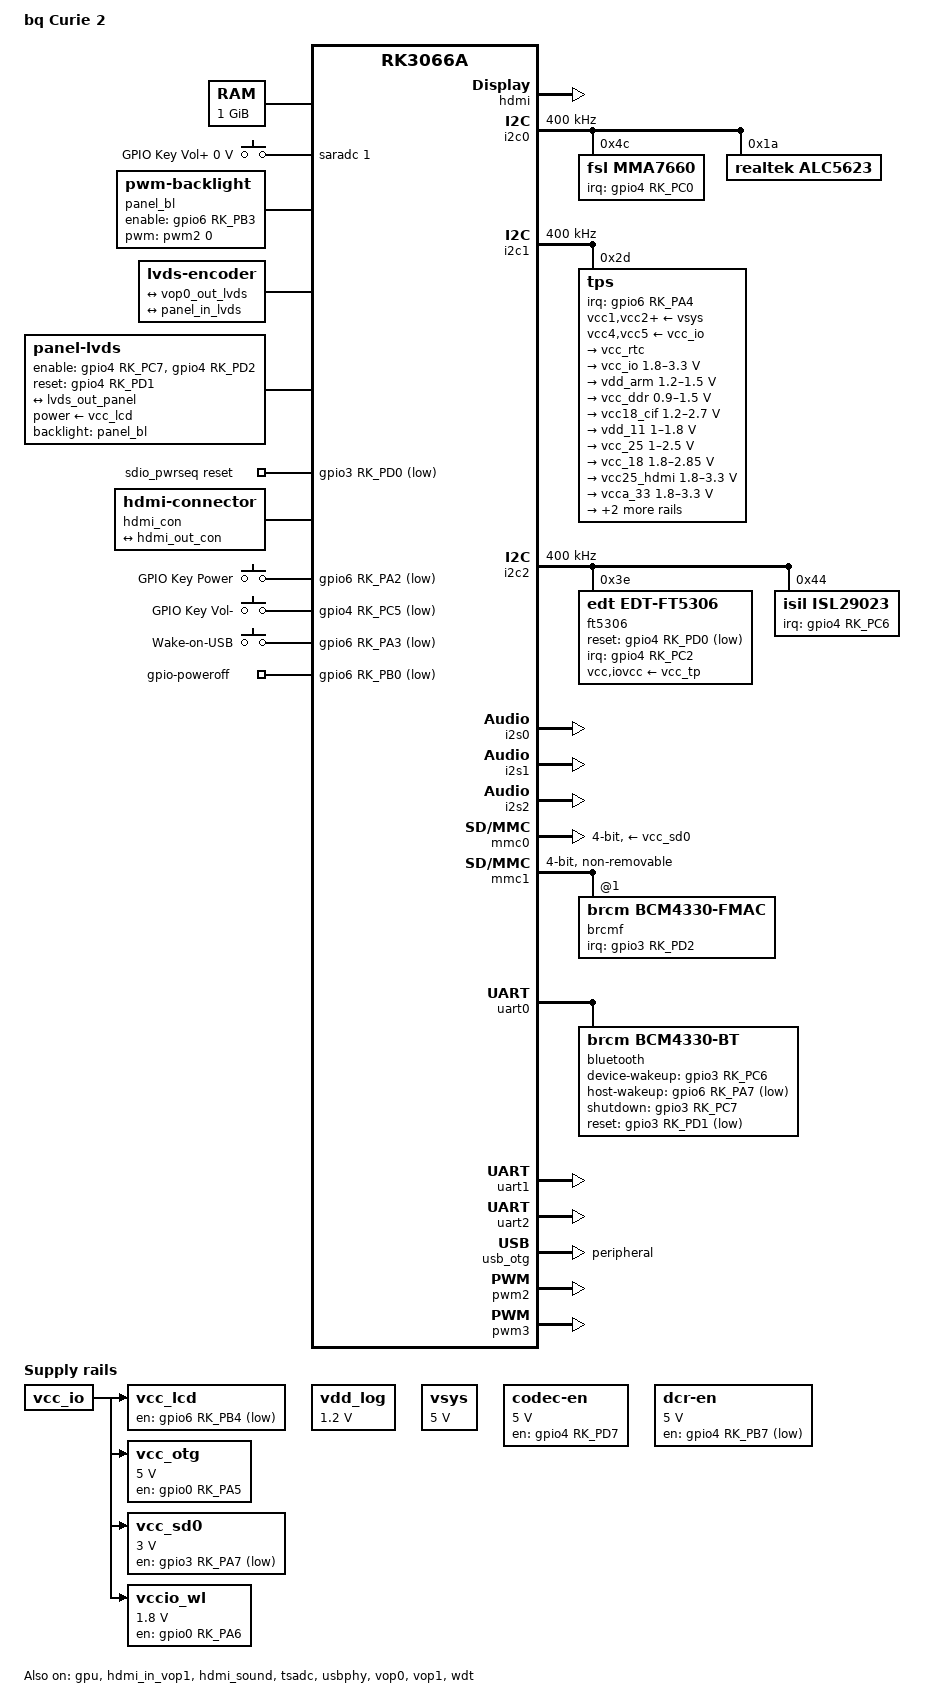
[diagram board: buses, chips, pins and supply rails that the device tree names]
// SPDX-License-Identifier: (GPL-2.0+ OR MIT)
/*
 * Copyright (c) 2013 MundoReader S.L.
 * Author: Heiko Stuebner <heiko@sntech.de>
 */

/dts-v1/;
#include <dt-bindings/input/input.h>
#include "rk3066a.dtsi"

/ {
	model = "bq Curie 2";
	compatible = "mundoreader,bq-curie2", "rockchip,rk3066a";

	aliases {
		mmc0 = &mmc0;
		mmc1 = &mmc1;
	};

	chosen {
		/*bootargs = "clk_ignore_unused pd_ignore_unused";*/
		stdout-path = &uart2;
	};

	memory@60000000 {
		device_type = "memory";
		reg = <0x60000000 0x40000000>;
	};

	adc-keys {
		compatible = "adc-keys";
		io-channels = <&saradc 1>;
		io-channel-names = "buttons";
		keyup-threshold-microvolt = <2500000>;
		poll-interval = <100>;

		key-volume-up {
			label = "GPIO Key Vol+";
			linux,code = <KEY_VOLUMEUP>;
			press-threshold-microvolt = <0>;
		};
	};

	panel_bl: backlight {
		compatible = "pwm-backlight";
		pwms = <&pwm2 0 26860>;

		/*brightness-levels = <255 128 64 32 16 8 4 0>;*/
		brightness-levels = <100 75 50 25 12 6 3 0>;
		default-brightness-level = <6>;

		enable-gpios = <&gpio6 RK_PB3 GPIO_ACTIVE_HIGH>;
		post-pwm-on-delay-ms = <100>;
		pwm-off-delay-ms = <100>;
	};

	lvds-encoder {
		compatible = "lvds-encoder";
		ports {
			#address-cells = <1>;
			#size-cells = <0>;

			port@0 {
				reg = <0>;

				lvds_in_vop0: endpoint {
					remote-endpoint = <&vop0_out_lvds>;
				};
			};

			port@1 {
				reg = <1>;

				lvds_out_panel: endpoint {
					remote-endpoint = <&panel_in_lvds>;
				};
			};
		};
	};

	panel {
		/* Panel for C8003 device */
		compatible = "panel-lvds";
		backlight = <&panel_bl>;
		/* Chip select and standby pins */
		enable-gpios = <&gpio4 RK_PC7 GPIO_ACTIVE_HIGH
				&gpio4 RK_PD2 GPIO_ACTIVE_HIGH>;
		reset-gpios = <&gpio4 RK_PD1 GPIO_ACTIVE_HIGH>;
		pinctrl-names = "default";
		pinctrl-0 = <&lcd_cs &lcd_rst &lcd_standby>;
		power-supply = <&vcc_lcd>;

		data-mapping = "jeida-24";
		height-mm = <162>;
		width-mm = <216>;

		panel-timing {
			clock-frequency = <65000000>;
			hactive = <1024>;
			vactive = <768>;
			hback-porch = <100>;
			hfront-porch = <120>;
			hsync-len = <100>;
			vback-porch = <10>;
			vfront-porch = <15>;
			vsync-len = <10>;
		};

		port {
			panel_in_lvds: endpoint {
				remote-endpoint = <&lvds_out_panel>;
			};
		};
	};

	vcc_lcd: regulator-lcd {
		compatible = "regulator-fixed";
		enable-active-low;
		regulator-name = "vcc-lcd";
		gpio = <&gpio6 RK_PB4 GPIO_ACTIVE_LOW>;
		pinctrl-names = "default";
		pinctrl-0 = <&lcd_en>;
		vin-supply = <&vcc_io>;
	};

	vdd_log: regulator-vdd-log {
		compatible = "pwm-regulator";
		pwms = <&pwm3 0 1000>;
		regulator-name = "vdd_log";
		regulator-min-microvolt = <1200000>;
		regulator-max-microvolt = <1200000>;
		regulator-always-on;
		voltage-table = <1000000 100>,
				<1200000 42>;
		status = "okay";

	};

	vcc_otg: regulator-usb-otg {
		compatible = "regulator-fixed";
		enable-active-high;
		gpio = <&gpio0 RK_PA5 GPIO_ACTIVE_HIGH>;
		pinctrl-0 = <&otg_drv>;
		pinctrl-names = "default";
		regulator-always-on;
		regulator-name = "vcc_otg";
		regulator-min-microvolt = <5000000>;
		regulator-max-microvolt = <5000000>;
		vin-supply = <&vcc_io>;
	};

	vcc_sd0: regulator-fixed {
		compatible = "regulator-fixed";
		regulator-name = "sdmmc-supply";
		regulator-min-microvolt = <3000000>;
		regulator-max-microvolt = <3000000>;
		pinctrl-names = "default";
		pinctrl-0 = <&sdmmc_pwr>;
		gpio = <&gpio3 RK_PA7 GPIO_ACTIVE_LOW>;
		vin-supply = <&vcc_io>;
	};

	vccio_wl: vccio-wl {
		compatible = "regulator-fixed";
		enable-active-high;
		gpio = <&gpio0 RK_PA6 GPIO_ACTIVE_HIGH>;
		pinctrl-0 = <&vccio_wl_on>;
		pinctrl-names = "default";
		regulator-name = "vccio_wl";
		regulator-min-microvolt = <1800000>;
		regulator-max-microvolt = <1800000>;
		vin-supply = <&vcc_io>;
	};

	sdio_pwrseq: sdio-pwrseq {
		compatible = "mmc-pwrseq-simple";
		pinctrl-names = "default";
		pinctrl-0 = <&wifi_reg_on>;
		reset-gpios = <&gpio3 RK_PD0 GPIO_ACTIVE_LOW>;
	};

	vsys: regulator-vsys {
		compatible = "regulator-fixed";
		regulator-name = "vsys";
		regulator-min-microvolt = <5000000>;
		regulator-max-microvolt = <5000000>;
		regulator-boot-on;
	};

	hdmi_con {
		compatible = "hdmi-connector";
		type = "c";

		port {
			hdmi_con_in: endpoint {
				remote-endpoint = <&hdmi_out_con>;
			};
		};
	};

	codec-en {
		compatible = "regulator-fixed";
		regulator-name = "codec-en";
		regulator-min-microvolt = <5000000>;
		regulator-max-microvolt = <5000000>;
		enable-active-high;
		gpio = <&gpio4 RK_PD7 GPIO_ACTIVE_HIGH>;
		pinctrl-names = "default";
		pinctrl-0 = <&codec_en_pin>;
	};

	dcr-en {
		compatible = "regulator-fixed";
		regulator-name = "dcr-en";
		regulator-min-microvolt = <5000000>;
		regulator-max-microvolt = <5000000>;
		enable-active-low;
		gpio = <&gpio4 RK_PB7 GPIO_ACTIVE_LOW>;
		pinctrl-names = "default";
		pinctrl-0 = <&dcr_en_pin>;
	};

	gpio-keys {
		compatible = "gpio-keys";
		autorepeat;
		pinctrl-names = "default";
		pinctrl-0 = <&pwr_key &vol_key &usb_int>;

		key-power {
			gpios = <&gpio6 RK_PA2 GPIO_ACTIVE_LOW>;
			linux,code = <KEY_POWER>;
			label = "GPIO Key Power";
			linux,input-type = <1>;
			debounce-interval = <100>;
			wakeup-source;
		};

		key-volume-down {
			gpios = <&gpio4 RK_PC5 GPIO_ACTIVE_LOW>; /* GPIO4_C5 */
			linux,code = <KEY_VOLUMEDOWN>;
			label = "GPIO Key Vol-";
			linux,input-type = <1>;
			debounce-interval = <100>;
		};
		/* VOL+ comes somehow thru the ADC */

		key-wake-on-usb {
			label = "Wake-on-USB";
			gpios = <&gpio6 RK_PA3 GPIO_ACTIVE_LOW>;
			linux,code = <KEY_WAKEUP>;
			wakeup-source;
		};
	};

	gpio-poweroff {
		compatible = "gpio-poweroff";
		gpios = <&gpio6 RK_PB0 GPIO_ACTIVE_LOW>;
		pinctrl-names = "default";
		pinctrl-0 = <&pwr_hold>;
		/* only drive the pin low until device is off */
		active-delay-ms = <3000>;
	};
};

&cpu0 {
	cpu-supply = <&vdd_arm>;
};

&cpu1 {
	cpu-supply = <&vdd_arm>;
};

&gpu {
	status = "okay";
};


&hdmi {
	status = "okay";
};

&hdmi_in_vop1 {
	status = "okay";
};

&hdmi_out {
	hdmi_out_con: endpoint {
		remote-endpoint = <&hdmi_con_in>;
	};
};

&hdmi_sound {
	status = "okay";
};

&i2c0 {
	clock-frequency = <400000>;
	status = "okay";

	mma7660: accel@4c {
		compatible = "fsl,mma7660";
		reg = <0x4c>;
		interrupt-parent = <&gpio4>;
		interrupts = <RK_PC0 IRQ_TYPE_LEVEL_LOW>;
		pinctrl-names = "default";
		pinctrl-0 = <&accel_int>;
	};

	alc5623: codec@1a {
		compatible = "realtek,alc5623";
		reg = <0x1a>;
		add-ctrl = <0x3700>;
		jack-det-ctrl = <0x4810>;
		#sound-dai-cells = <0>;
	};
};

&i2c1 {
	status = "okay";
	clock-frequency = <400000>;

	tps: tps@2d {
		reg = <0x2d>;

		interrupt-parent = <&gpio6>;
		interrupts = <RK_PA4 IRQ_TYPE_LEVEL_LOW>;
		pinctrl-names = "default";
		pinctrl-0 = <&pmic_int>;
		status = "okay";
		vcc1-supply = <&vsys>;
		vcc2-supply = <&vsys>;
		vcc3-supply = <&vsys>;
		vcc4-supply = <&vcc_io>;
		vcc5-supply = <&vcc_io>;
		vcc6-supply = <&vsys>;
		vcc7-supply = <&vsys>;
		vccio-supply = <&vsys>;

		regulators {
			vcc_rtc: regulator@0 {
				regulator-name = "vcc_rtc";
				regulator-always-on;
			};

			vcc_io: regulator@1 {
				regulator-name = "vcc_io";
				regulator-min-microvolt = <1800000>;
				regulator-max-microvolt = <3300000>;
				regulator-boot-on;
				regulator-always-on;
			};

			vdd_arm: regulator@2 {
				regulator-name = "vdd_arm";
				regulator-min-microvolt = <1200000>;
				regulator-max-microvolt = <1500000>;
				regulator-boot-on;
				regulator-always-on;
			};

			vcc_ddr: regulator@3 {
				regulator-name = "vcc_ddr";
				regulator-min-microvolt = <900000>;
				regulator-max-microvolt = <1500000>;
				regulator-boot-on;
				regulator-always-on;
			};

			vcc18_cif: regulator@5 {
				regulator-name = "vcc18_cif";
				regulator-min-microvolt = <1200000>;
				regulator-max-microvolt = <2700000>;
				regulator-boot-on;
				regulator-always-on;
			};

			vdd_11: regulator@6 {
				regulator-name = "vdd_11";
				regulator-min-microvolt = <1000000>;
				regulator-max-microvolt = <1800000>;
				regulator-boot-on;
				regulator-always-on;
			};

			vcc_25: regulator@7 {
				regulator-name = "vcc_25";
				regulator-min-microvolt = <1000000>;
				regulator-max-microvolt = <2500000>;
				regulator-boot-on;
				regulator-always-on;
			};

			vcc_18: regulator@8 {
				regulator-name = "vcc_18";
				regulator-min-microvolt = <1800000>;
				regulator-max-microvolt = <2850000>;
				regulator-boot-on;
				regulator-always-on;
			};

			vcc25_hdmi: regulator@9 {
				regulator-name = "vcc25_hdmi";
				regulator-min-microvolt = <1800000>;
				regulator-max-microvolt = <3300000>;
				regulator-boot-on;
				regulator-always-on;
			};

			vcca_33: regulator@10 {
				regulator-name = "vcca_33";
				regulator-min-microvolt = <1800000>;
				regulator-max-microvolt = <3300000>;
				regulator-boot-on;
				regulator-always-on;
			};

			vcc_tp: regulator@11 {
				regulator-name = "vcc_tp";
				regulator-min-microvolt = <1800000>;
				regulator-max-microvolt = <3300000>;
				regulator-boot-on;
				regulator-always-on;
			};

			vcc28_cif: regulator@12 {
				regulator-name = "vcc28_cif";
				regulator-min-microvolt = <1800000>;
				regulator-max-microvolt = <3300000>;
				regulator-boot-on;
				regulator-always-on;
			};
		};
	};
};

&i2c2 {
	clock-frequency = <400000>;
	status = "okay";

	ft5306: touchscreen@3e {
		compatible = "edt,edt-ft5306";
		reg = <0x3e>;
		interrupt-parent = <&gpio4>;
		interrupts = <RK_PC2 IRQ_TYPE_EDGE_FALLING>;
		pinctrl-names = "default";
		pinctrl-0 = <&tp_int &tp_rst>;
		reset-gpios = <&gpio4 RK_PD0 GPIO_ACTIVE_LOW>;
		touchscreen-inverted-y;
		/* hw ts resolution does not match display */
		touchscreen-size-y = <1024>;
		touchscreen-size-x = <768>;
		touchscreen-swapped-x-y;
		vcc-supply = <&vcc_tp>;
		iovcc-supply = <&vcc_tp>;
	};

	isl29023: light-sensor@44 {
		compatible = "isil,isl29023";
		reg = <0x44>;
		pinctrl-names = "default";
		pinctrl-0 = <&light_int>;
		interrupt-parent = <&gpio4>;
		interrupts = <RK_PC6 IRQ_TYPE_EDGE_FALLING>;
	};
};

&i2c3 {
	clock-frequency = <400000>;
	status = "disabled";
};

&i2c4 {
	clock-frequency = <400000>;
	status = "disabled";
};

/* must be included after &tps gets defined */
#include "../tps65910.dtsi"

&i2s0 {
	status = "okay";
};

&i2s1 {
	status = "okay";
};

&i2s2 {
	status = "okay";
};

&mmc0 { /* sdmmc */
	status = "okay";
	pinctrl-names = "default";
	pinctrl-0 = <&sd0_clk>, <&sd0_cmd>, <&sd0_cd>, <&sd0_bus4>;
	vmmc-supply = <&vcc_sd0>;
	bus-width = <4>;
	cap-mmc-highspeed;
	cap-sd-highspeed;
	disable-wp;
	cd-gpio = <&gpio3 RK_PB6 GPIO_ACTIVE_LOW>;
};

&mmc1 {
	status = "okay";
	non-removable;
	pinctrl-0 = <&sd1_clk &sd1_cmd &sd1_bus4>;
	pinctrl-names = "default";
	mmc-pwrseq = <&sdio_pwrseq>;
	vqmmc-supply = <&vccio_wl>;
	bus-width = <4>;
	cap-sd-highspeed;
	keep-power-in-suspend;
	#address-cells = <1>;
	#size-cells = <0>;

	brcmf: wifi@1 {
		reg = <1>;
		compatible = "brcm,bcm4330-fmac", "brcm,bcm4329-fmac";
		interrupt-parent = <&gpio3>;
		interrupts = <RK_PD2 IRQ_TYPE_EDGE_FALLING>;
		interrupt-names = "host-wake";
		brcm,drive-strength = <5>;
		pinctrl-names = "default";
		pinctrl-0 = <&wifi_host_wake>;
	};

};

&pinctrl {
	pcfg_output_high: pcfg-output-high {
		output-high;
	};

	pcfg_output_low: pcfg-output-low {
		output-low;
	};

	mma7660 {
		accel_int: accel-int {
			rockchip,pins = <4 RK_PC0 RK_FUNC_GPIO &pcfg_pull_default>;
		};
	};

	isl29023 {
		light_int: light-int {
			rockchip,pins = <4 RK_PC6 RK_FUNC_GPIO &pcfg_pull_default>;
		};
	};

	keys {
		pwr_hold: pwr-hold {
			rockchip,pins = <6 RK_PB0 RK_FUNC_GPIO &pcfg_output_high>;
		};

		pwr_key: pwr-key {
			rockchip,pins = <0 RK_PA4 RK_FUNC_GPIO &pcfg_pull_default>;
		};

		vol_key: vol-key {
			rockchip,pins = <6 RK_PA2 RK_FUNC_GPIO &pcfg_pull_default>;
		};
	};

	codec_en {
		codec_en_pin: codec-en-pin {
			rockchip,pins = <4 RK_PD7 RK_FUNC_GPIO &pcfg_output_high>;
		};
	};

	dcr_en {
		dcr_en_pin: dcr-en-pin {
			rockchip,pins = <4 RK_PB7 RK_FUNC_GPIO &pcfg_output_low>;
		};
	};

	usb_otg {
		otg_drv: otg-drv {
			rockchip,pins = <0 RK_PA5 RK_FUNC_GPIO &pcfg_pull_default>;
		};

		usb_int: usb-int {
			rockchip,pins = <6 RK_PA3 RK_FUNC_GPIO &pcfg_pull_default>;
		};
	};

	tps {
		pmic_int: pmic-int {
			rockchip,pins = <6 RK_PA4 RK_FUNC_GPIO &pcfg_pull_default>;
		};
	};

	display {
		lcd_cs: lcd-cs {
			rockchip,pins = <4 RK_PC7 RK_FUNC_GPIO &pcfg_output_high>;
		};

		lcd_standby: lcd-standby {
			rockchip,pins = <4 RK_PD2 RK_FUNC_GPIO &pcfg_output_high>;
		};

		lcd_rst: lcd-rst {
			rockchip,pins = <4 RK_PD1 RK_FUNC_GPIO &pcfg_output_high>;
		};

		lcd_en: lcd-en {
			rockchip,pins = <6 RK_PB4 RK_FUNC_GPIO &pcfg_output_low>;
		};
	};

	ft5306 {
		tp_int: tp-int {
			rockchip,pins = <4 RK_PC2 RK_FUNC_GPIO &pcfg_pull_default>;
		};

		tp_rst: tp-rst {
			rockchip,pins = <4 RK_PD0 RK_FUNC_GPIO &pcfg_pull_none>;
		};
	};

	sdmmc {
		sdmmc_pwr: sdmmc-pwr {
			rockchip,pins = <3 RK_PA7 RK_FUNC_GPIO &pcfg_pull_default>;
		};
	};

	rk903 {

		bt_host_wake: bt-host-wake {
			rockchip,pins = <6 RK_PA7 RK_FUNC_GPIO &pcfg_pull_default>;
		};

		bt_reg_on: bt-reg-on {
			rockchip,pins = <3 RK_PC7 RK_FUNC_GPIO &pcfg_output_high>;
		};

		/* pin hog to pull the reset high */
		bt_rst: bt-rst {
			rockchip,pins = <3 RK_PD1 RK_FUNC_GPIO &pcfg_pull_none>;
		};

		bt_wake: bt-wake {
			rockchip,pins = <3 RK_PC6 RK_FUNC_GPIO &pcfg_output_high>;
		};

		wifi_host_wake: wifi-host-wake {
			rockchip,pins = <3 RK_PD2 RK_FUNC_GPIO &pcfg_pull_default>;
		};

		wifi_reg_on: wifi-reg-on {
			rockchip,pins = <3 RK_PD0 RK_FUNC_GPIO &pcfg_pull_none>;
		};

		vccio_wl_on: vccio-wl-on {
			rockchip,pins = <0 RK_PA6 RK_FUNC_GPIO &pcfg_output_high>;
		};
	};
};

&saradc {
	vref-supply = <&vcc_25>;
	status = "disabled";
};

&tsadc {
	status = "okay";
};

&uart0 {
	pinctrl-names = "default";
	pinctrl-0 = <&uart0_xfer &uart0_cts &uart0_rts>;
	uart-has-rtscts;
	status = "okay";

	bluetooth {
		compatible = "brcm,bcm4330-bt";
		max-speed = <3000000>;
		device-wakeup-gpios = <&gpio3 RK_PC6 GPIO_ACTIVE_HIGH>;
		host-wakeup-gpios = <&gpio6 RK_PA7 GPIO_ACTIVE_LOW>;
		shutdown-gpios = <&gpio3 RK_PC7 GPIO_ACTIVE_HIGH>;
		reset-gpios = <&gpio3 RK_PD1 GPIO_ACTIVE_LOW>;
		pinctrl-names = "default";
		pinctrl-0 = <&bt_host_wake &bt_reg_on &bt_rst &bt_wake>;
	};
};

&uart1 {
	status = "okay";
};

&uart2 {
	status = "okay";
};

&uart3 {
	status = "disabled";
};

&usb_otg {
	status = "okay";
	dr_mode = "peripheral";
};

&usbphy {
	status = "okay";
};

&vop0 {
	status = "okay";
};

&vop0_out {
	vop0_out_lvds: endpoint@1 {
		reg = <1>;
		remote-endpoint = <&lvds_in_vop0>;
	};
};

&vop1 {
	status = "okay";
};

&pwm0 {
	status = "disabled";
};

&pwm1 {
	status = "disabled";
};

&pwm2 {
	status = "okay";
};

&pwm3 {
	status = "okay";
};

&wdt {
	status = "okay";
};
